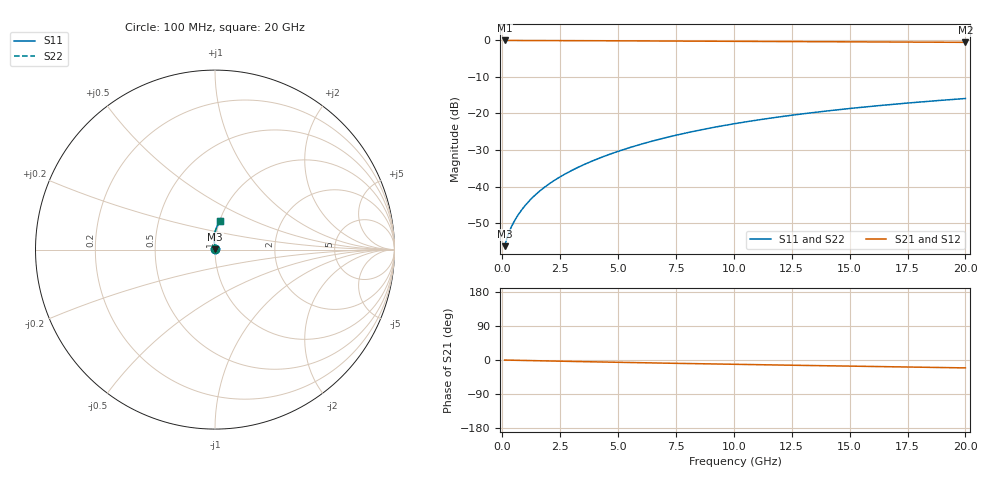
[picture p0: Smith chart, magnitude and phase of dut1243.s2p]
! Touchstone file exported from HFSS 2024.1.0
!  File:  C:/UserFiles/LocalFiles/RDL_TSV_Batchsim/temp_RDL_bottom_1243_1780245071.aedt
!  Generated:  12:33:27 AM Jun  1, 2026
!  Design:  RDL_bottom
!  Project:  temp_RDL_bottom_1243_1780245071
!  Setup:  Setup1
!  Solution:  Sweep
! Variables:
!  dtsv = 10.80580581um
!  hbump = 3um
!  htsv = 59.09um
!  ldown = 323.99um
!  lrdl = 100um
!  p = 40
!  p1 = 43.84um
!  rhole = 1um
!  t = 450um
!  tdown = 3.64um
!  trdl = 3.915915916um
!  wdown = 28.48um
!  wrdl = 20um
# GHz S MA R 50.000000
! Terminal data exported
! Port[1] = RDL1_T1
! Port[2] = RDL1_T2
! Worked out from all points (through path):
!   200 points, 100 MHz to 20 GHz, reference 50 ohm
!   highest |S21| = -0.01 dB at 100 MHz (marker M1); lowest = -0.5 dB at 20 GHz (marker M2)
!   group delay of S21, straight-line fit = 2.84 ps
!   lowest |S11| = -56.3 dB at 100 MHz (marker M3), VSWR 1.00, Z = 50.1 + j0.0686 ohm
!   |S11| at or under -10 dB: start of sweep to end of sweep
!   |S22| runs from -56.3 to -15.9 dB; largest |S21 - S12| = 2.6e-15
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0.1  0.001529 26.6  0.9986 -0.1  0.9986 -0.1  0.001529 26.6
! Gamma 0 0 0 0
! Port Impedance 50 0 50 0
0.2  0.00196 41.2  0.9985 -0.3  0.9985 -0.3  0.00196 41.2
0.3  0.002408 49.3  0.9983 -0.4  0.9983 -0.4  0.002408 49.3
0.4  0.002844 55.1  0.9982 -0.5  0.9982 -0.5  0.002844 55.1
0.5  0.003276 59.7  0.9981 -0.7  0.9981 -0.7  0.003276 59.7
0.8  0.004621 69.5  0.9978 -1.0  0.9978 -1.0  0.004621 69.5
1  0.005567 74.0  0.9976 -1.3  0.9976 -1.3  0.005567 74.0
1.2  0.006548 77.4  0.9973 -1.5  0.9973 -1.5  0.006548 77.4
1.7  0.009129 83.4  0.9966 -2.2  0.9966 -2.2  0.009129 83.4
2.2  0.01188 87.4  0.9956 -2.8  0.9956 -2.8  0.01188 87.4
2.8  0.01539 90.7  0.9941 -3.5  0.9941 -3.5  0.01539 90.7
3.5  0.0198 93.2  0.9921 -4.4  0.9921 -4.4  0.0198 93.2
4.2  0.02454 94.9  0.9899 -5.2  0.9899 -5.2  0.02454 94.9
5  0.03033 95.9  0.9871 -6.1  0.9871 -6.1  0.03033 95.9
5.9  0.03726 96.4  0.9838 -7.1  0.9838 -7.1  0.03725 96.4
6.8  0.04455 96.3  0.9805 -8.1  0.9805 -8.1  0.04454 96.3
8.4  0.05815 95.3  0.9748 -9.7  0.9748 -9.7  0.05815 95.3
10.1  0.07314 93.4  0.969 -11.4  0.969 -11.4  0.07314 93.4
11.7  0.08747 91.4  0.9639 -13.0  0.9639 -13.0  0.08747 91.4
13.4  0.1027 89.1  0.9589 -14.6  0.9589 -14.6  0.1027 89.1
16.7  0.132 84.7  0.9499 -17.8  0.9499 -17.8  0.132 84.7
20  0.1603 80.4  0.9414 -20.8  0.9414 -20.8  0.1603 80.4
